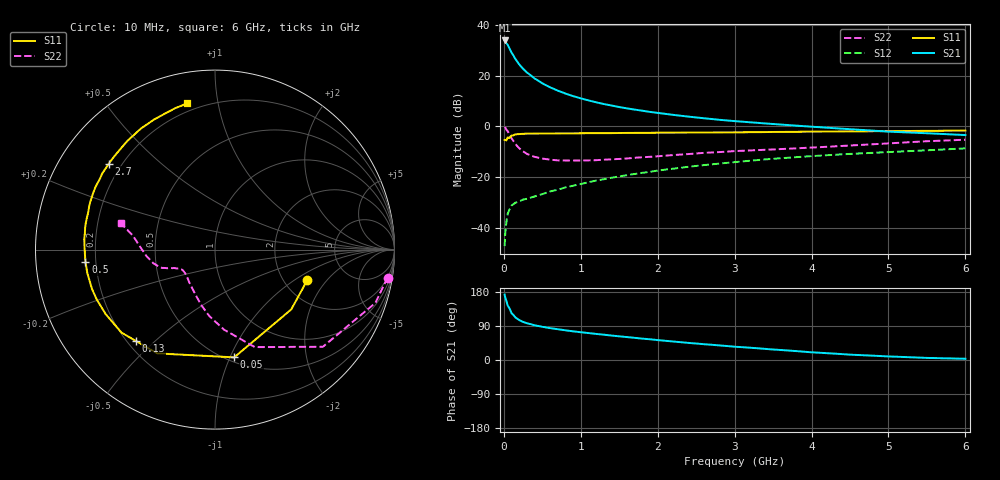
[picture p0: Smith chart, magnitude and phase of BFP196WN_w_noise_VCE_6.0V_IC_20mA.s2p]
! Infineon Technologies  Discrete & RF Semiconductors
! BFP196WN
! VCE =  6.0 V,  IC =  20 mA
! Common Emitter S-Parameters:  Jan 2017
# GHz  S  MA  R  50
!  f  S11  S21  S12  S22
! GHz  MAG  ANG  MAG  ANG  MAG  ANG  MAG  ANG
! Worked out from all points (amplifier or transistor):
!   77 points, 10 MHz to 6 GHz, reference 50 ohm
!   highest |S21| = 34.0 dB at 10 MHz (marker M1)
!   |S21| within 3 dB of that: start of sweep to 71.4 MHz
!   unconditionally stable (mu >= 1): 899 MHz to 2.681 GHz
!   at 130 MHz: K = 0.31, MSG = 29.2 dB, |S12| = -30.6 dB
!   at 2.2 GHz: K = 1.03, MAG = 9.5 dB, |S12| = -16.7 dB
!   at 6 GHz: K = 0.88, MSG = 2.6 dB, |S12| = -8.7 dB
!   lowest NFmin = 0.96 dB at 450 MHz
!   S11 on the Smith chart (normalised r, x): 10 MHz: 2.66, -1.29; 50 MHz: 0.54, -1.04; 130 MHz: 0.23, -0.44; 500 MHz: 0.16, -0.05; 2.7 GHz: 0.15, +0.35; 6 GHz: 0.16, +0.82
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0.01  0.5413 -18.4  50.09 172.5  0.0043 82.9  0.9741 -9.2
0.02  0.54 -38.1  47.6 163.8  0.0083 82.3  0.9417 -18.4
0.05  0.6099 -79.9  41.2 143.8  0.0189 59.0  0.8089 -42.0
0.1  0.6614 -119.0  28.98 123.4  0.0273 46.8  0.5867 -67.8
0.13  0.6733 -130.9  24.43 117.5  0.0296 43.5  0.4992 -76.2
0.15  0.6967 -138.4  21.59 112.3  0.0311 41.5  0.4488 -83.6
0.2  0.7073 -149.5  16.86 105.4  0.0329 39.7  0.3709 -95.0
0.25  0.7148 -156.9  13.79 100.5  0.0359 40.5  0.3223 -103.1
0.3  0.7198 -162.2  11.64 96.9  0.0372 41.7  0.2867 -110.2
0.4  0.7232 -169.6  8.863 91.5  0.0413 45.5  0.2506 -120.3
0.5  0.725 -174.5  7.126 87.6  0.0459 47.8  0.2319 -128.2
0.6  0.7254 -178.5  5.961 84.1  0.0518 51.0  0.2205 -133.9
0.7  0.7277 178.4  5.109 81.2  0.0562 53.6  0.2137 -137.8
0.9  0.7308 172.7  3.979 75.7  0.0674 57.2  0.2123 -143.5
1.1  0.7349 168.4  3.269 71.1  0.0789 59.5  0.2135 -147.7
1.5  0.742 160.8  2.417 62.5  0.1028 61.2  0.2278 -152.6
2.1  0.7518 150.6  1.772 50.7  0.1402 61.0  0.2645 -157.1
2.7  0.7606 141.1  1.403 40.2  0.1782 58.6  0.3058 -160.5
3.1  0.7668 135.1  1.242 33.8  0.2035 56.1  0.3305 -163.9
4.1  0.792 120.1  0.967 19.2  0.2645 49.1  0.3893 -176.1
5.1  0.8101 108.9  0.779 8.7  0.3165 41.7  0.4717 169.7
6  0.8291 100.7  0.675 3.2  0.3687 35.6  0.5465 164.4
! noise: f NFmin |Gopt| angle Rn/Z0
0.45  0.96  0.4  169  0.05
0.9  1.1  0.5  179  0.05
1.9  2.1  0.69  210  0.12
2.4  2.86  0.7  216  0.23
